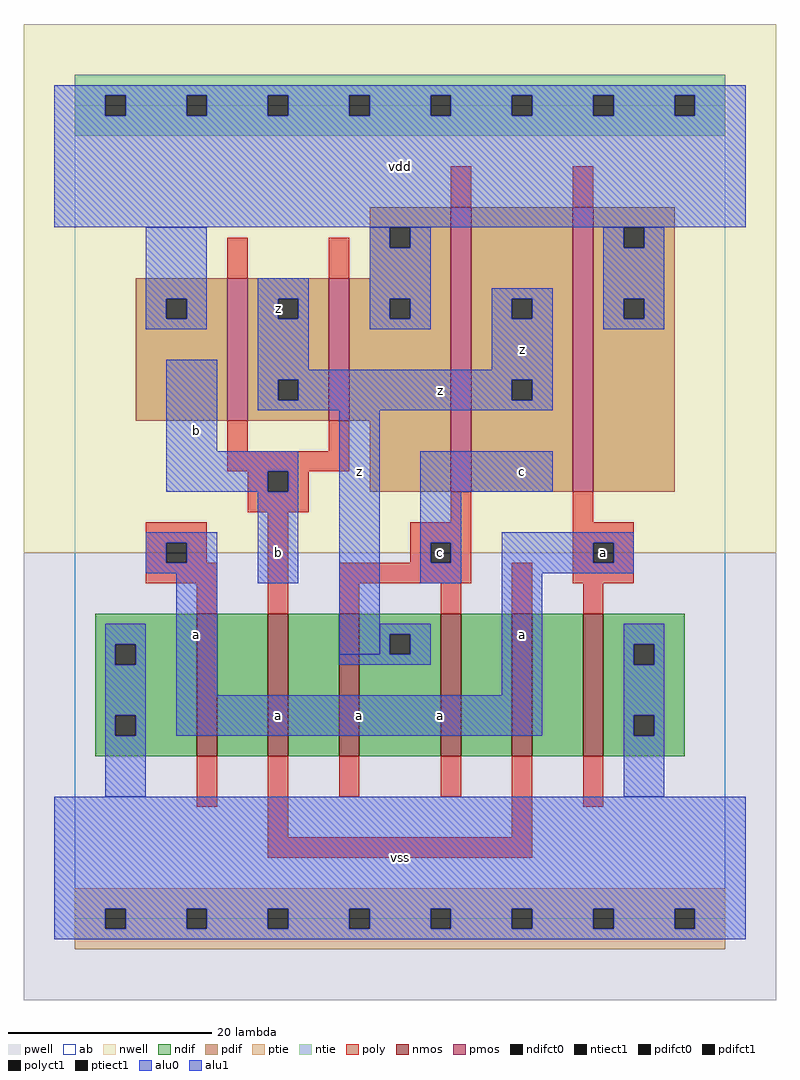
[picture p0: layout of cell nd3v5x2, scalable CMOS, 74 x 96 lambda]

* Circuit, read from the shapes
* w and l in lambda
.subckt nd3v5x2 a b c vdd vss z
M1 n1 a vss vss nfet w=14 l=2
M2 n2 b n1 vss nfet w=14 l=2
M3 z c n2 vss nfet w=14 l=2
M4 n3 c z vss nfet w=14 l=2
M5 n4 b n3 vss nfet w=14 l=2
M6 vss a n4 vss nfet w=14 l=2
M7 z b vdd vdd pfet w=14 l=2 m=2
M8 z c vdd vdd pfet w=28 l=2
M9 vdd a z vdd pfet w=28 l=2
.ends

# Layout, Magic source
magic
tech scmos
<< ab >>
rect 0 0 64 80
<< nwell >>
rect -5 36 69 88
<< pwell >>
rect -5 -8 69 36
<< poly >>
rect 37 70 39 74
rect 49 70 51 74
rect 15 63 17 67
rect 25 63 27 67
rect 15 46 17 49
rect 25 46 27 49
rect 15 44 27 46
rect 17 42 19 44
rect 21 42 23 44
rect 17 40 23 42
rect 7 37 13 39
rect 7 35 9 37
rect 11 35 13 37
rect 7 33 14 35
rect 12 30 14 33
rect 19 30 21 40
rect 37 39 39 42
rect 33 37 39 39
rect 33 35 35 37
rect 37 35 39 37
rect 49 39 51 42
rect 49 37 55 39
rect 49 35 51 37
rect 53 35 55 37
rect 26 33 39 35
rect 26 30 28 33
rect 36 30 38 33
rect 43 30 45 35
rect 49 33 55 35
rect 50 30 52 33
rect 12 11 14 16
rect 19 8 21 16
rect 26 12 28 16
rect 36 12 38 16
rect 43 8 45 16
rect 50 11 52 16
rect 19 6 45 8
<< ndif >>
rect 2 27 12 30
rect 2 25 4 27
rect 6 25 12 27
rect 2 20 12 25
rect 2 18 4 20
rect 6 18 12 20
rect 2 16 12 18
rect 14 16 19 30
rect 21 16 26 30
rect 28 28 36 30
rect 28 26 31 28
rect 33 26 36 28
rect 28 16 36 26
rect 38 16 43 30
rect 45 16 50 30
rect 52 27 60 30
rect 52 25 55 27
rect 57 25 60 27
rect 52 20 60 25
rect 52 18 55 20
rect 57 18 60 20
rect 52 16 60 18
<< pdif >>
rect 29 68 37 70
rect 29 66 31 68
rect 33 66 37 68
rect 29 63 37 66
rect 6 61 15 63
rect 6 59 9 61
rect 11 59 15 61
rect 6 49 15 59
rect 17 61 25 63
rect 17 59 20 61
rect 22 59 25 61
rect 17 53 25 59
rect 17 51 20 53
rect 22 51 25 53
rect 17 49 25 51
rect 27 61 37 63
rect 27 59 31 61
rect 33 59 37 61
rect 27 49 37 59
rect 29 42 37 49
rect 39 61 49 70
rect 39 59 43 61
rect 45 59 49 61
rect 39 53 49 59
rect 39 51 43 53
rect 45 51 49 53
rect 39 42 49 51
rect 51 68 59 70
rect 51 66 54 68
rect 56 66 59 68
rect 51 61 59 66
rect 51 59 54 61
rect 56 59 59 61
rect 51 42 59 59
<< alu1 >>
rect -2 81 66 82
rect -2 79 3 81
rect 5 79 11 81
rect 13 79 19 81
rect 21 79 27 81
rect 29 79 35 81
rect 37 79 43 81
rect 45 79 51 81
rect 53 79 59 81
rect 61 79 66 81
rect -2 68 66 79
rect 18 61 23 63
rect 18 59 20 61
rect 22 59 23 61
rect 9 46 14 55
rect 18 54 23 59
rect 41 61 47 62
rect 41 59 43 61
rect 45 59 47 61
rect 41 54 47 59
rect 18 53 47 54
rect 18 51 20 53
rect 22 51 43 53
rect 45 51 47 53
rect 18 50 47 51
rect 9 44 22 46
rect 9 42 19 44
rect 21 42 22 44
rect 7 37 14 38
rect 7 35 9 37
rect 11 35 14 37
rect 7 34 14 35
rect 10 22 14 34
rect 18 33 22 42
rect 26 26 30 50
rect 34 42 47 46
rect 34 37 38 42
rect 34 35 35 37
rect 37 35 38 37
rect 34 33 38 35
rect 42 37 55 38
rect 42 35 51 37
rect 53 35 55 37
rect 42 34 55 35
rect 42 22 46 34
rect 10 18 46 22
rect -2 1 66 12
rect -2 -1 3 1
rect 5 -1 11 1
rect 13 -1 19 1
rect 21 -1 27 1
rect 29 -1 35 1
rect 37 -1 43 1
rect 45 -1 51 1
rect 53 -1 59 1
rect 61 -1 66 1
rect -2 -2 66 -1
<< ptie >>
rect 0 1 64 3
rect 0 -1 3 1
rect 5 -1 11 1
rect 13 -1 19 1
rect 21 -1 27 1
rect 29 -1 35 1
rect 37 -1 43 1
rect 45 -1 51 1
rect 53 -1 59 1
rect 61 -1 64 1
rect 0 -3 64 -1
<< ntie >>
rect 0 81 64 83
rect 0 79 3 81
rect 5 79 11 81
rect 13 79 19 81
rect 21 79 27 81
rect 29 79 35 81
rect 37 79 43 81
rect 45 79 51 81
rect 53 79 59 81
rect 61 79 64 81
rect 0 77 64 79
<< nmos >>
rect 12 16 14 30
rect 19 16 21 30
rect 26 16 28 30
rect 36 16 38 30
rect 43 16 45 30
rect 50 16 52 30
<< pmos >>
rect 15 49 17 63
rect 25 49 27 63
rect 37 42 39 70
rect 49 42 51 70
<< polyct1 >>
rect 19 42 21 44
rect 9 35 11 37
rect 35 35 37 37
rect 51 35 53 37
<< ndifct0 >>
rect 4 25 6 27
rect 4 18 6 20
rect 31 26 33 28
rect 55 25 57 27
rect 55 18 57 20
<< ntiect1 >>
rect 3 79 5 81
rect 11 79 13 81
rect 19 79 21 81
rect 27 79 29 81
rect 35 79 37 81
rect 43 79 45 81
rect 51 79 53 81
rect 59 79 61 81
<< ptiect1 >>
rect 3 -1 5 1
rect 11 -1 13 1
rect 19 -1 21 1
rect 27 -1 29 1
rect 35 -1 37 1
rect 43 -1 45 1
rect 51 -1 53 1
rect 59 -1 61 1
<< pdifct0 >>
rect 31 66 33 68
rect 9 59 11 61
rect 31 59 33 61
rect 54 66 56 68
rect 54 59 56 61
<< pdifct1 >>
rect 20 59 22 61
rect 20 51 22 53
rect 43 59 45 61
rect 43 51 45 53
<< alu0 >>
rect 7 61 13 68
rect 29 66 31 68
rect 33 66 35 68
rect 7 59 9 61
rect 11 59 13 61
rect 7 58 13 59
rect 29 61 35 66
rect 52 66 54 68
rect 56 66 58 68
rect 29 59 31 61
rect 33 59 35 61
rect 29 58 35 59
rect 52 61 58 66
rect 52 59 54 61
rect 56 59 58 61
rect 52 58 58 59
rect 3 27 7 29
rect 3 25 4 27
rect 6 25 7 27
rect 3 20 7 25
rect 3 18 4 20
rect 6 18 7 20
rect 30 28 35 29
rect 30 26 31 28
rect 33 26 35 28
rect 26 25 35 26
rect 54 27 58 29
rect 54 25 55 27
rect 57 25 58 27
rect 54 20 58 25
rect 54 18 55 20
rect 57 18 58 20
rect 3 12 7 18
rect 54 12 58 18
<< labels >>
rlabel alu1 12 28 12 28 6 a
rlabel alu1 12 48 12 48 6 b
rlabel alu1 20 20 20 20 6 a
rlabel alu1 28 20 28 20 6 a
rlabel alu1 20 36 20 36 6 b
rlabel alu1 28 44 28 44 6 z
rlabel alu1 20 60 20 60 6 z
rlabel alu1 32 6 32 6 6 vss
rlabel alu1 36 20 36 20 6 a
rlabel polyct1 36 36 36 36 6 c
rlabel alu1 44 28 44 28 6 a
rlabel alu1 44 44 44 44 6 c
rlabel alu1 36 52 36 52 6 z
rlabel alu1 44 56 44 56 6 z
rlabel alu1 32 74 32 74 6 vdd
rlabel polyct1 52 36 52 36 6 a
<< end >>
